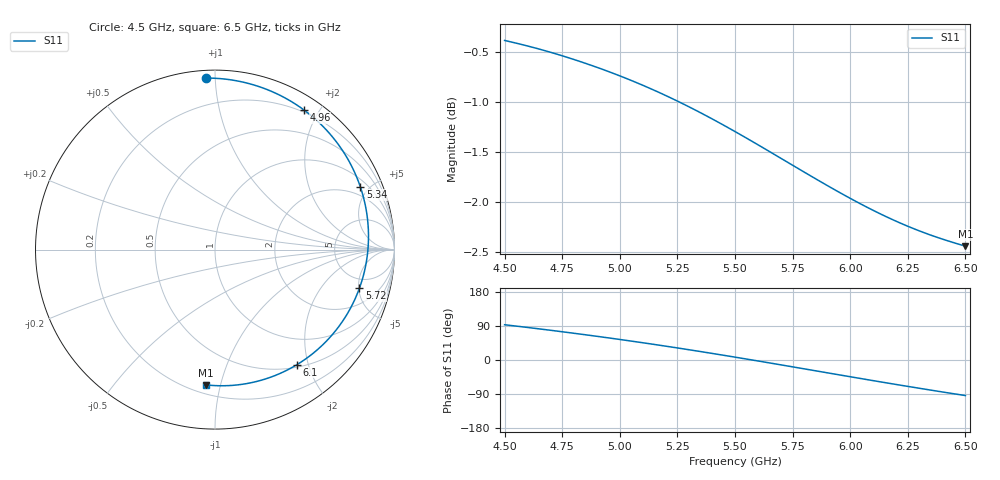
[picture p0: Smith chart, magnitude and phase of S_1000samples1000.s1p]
! TOUCHSTONE file generated by CST MICROWAVE STUDIO
! Date and time: Sun Oct 30 01:23:37 2022
! Project name: L.cst
! Parameters = {Di=1.27; Epsilon_r=1.56; InnerDiameter=1.27; Length=2; Lf=10; Lg=60; OuterConductorThickness=0.2921; OuterDiameter=3.6; Wf=3; Wp=41.2; de=1.5; df=6.8; g=0.8; gx=2.40609; gy=3.76708; h=2.34; hf=1.524; px=9.38518; py=10.8921; w=9.7; wx=6.97909; wy=7.12502}
! Header version: 2018
! Port assignment regex: !\s*Touchstone port\s*([0-9]+)\s*=\s*(CST MWS port|CST DS port)\s*([0-9]+|Zmin|Zmax)\s*\(\"(.*)\"\)(\s*mode\s*([0-9]+))?.*
! Touchstone port assignment:
! Touchstone port 1 = CST MWS port 1 ("")
# GHz S DB R 50
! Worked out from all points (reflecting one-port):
!   101 points, 4.5 GHz to 6.5 GHz, reference 50 ohm
!   lowest |S11| = -2.4 dB at 6.5 GHz (marker M1), VSWR 7.17, Z = 12.8 - j45.1 ohm
!   phase of S11 starts at 93 deg and turns -187 deg over the sweep
!   S11 on the Smith chart (normalised r, x): 4.5 GHz: 0.04, +0.95; 4.96 GHz: 0.17, +1.81; 5.34 GHz: 1.41, +4.42; 5.72 GHz: 3.63, -5.10; 6.1 GHz: 0.54, -1.82; 6.5 GHz: 0.26, -0.90
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4.5  -0.38 93.0
4.58  -0.43 87.3
4.64  -0.46 82.9
4.76  -0.54 73.8
4.86  -0.62 65.8
4.96  -0.70 57.6
5  -0.74 54.2
5.12  -0.85 43.7
5.2  -0.93 36.5
5.26  -1.00 30.9
5.34  -1.09 23.3
5.42  -1.19 15.5
5.5  -1.29 7.5
5.6  -1.42 -2.6
5.66  -1.51 -8.8
5.72  -1.59 -15.0
5.76  -1.64 -19.1
5.82  -1.72 -25.4
5.88  -1.80 -31.7
5.94  -1.88 -37.9
6  -1.96 -44.2
6.1  -2.08 -54.5
6.18  -2.17 -62.6
6.26  -2.25 -70.6
6.32  -2.30 -76.5
6.38  -2.35 -82.4
6.44  -2.40 -88.2
6.5  -2.44 -93.8
